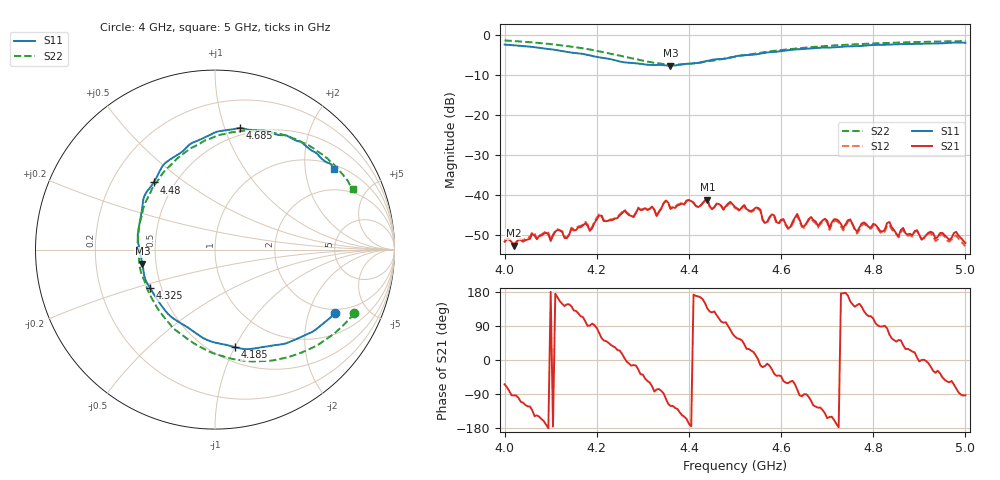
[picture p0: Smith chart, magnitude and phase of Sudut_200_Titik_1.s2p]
# Hz S RI R 50
! CMT, C1220, 16058040, 17.2.0/1
! Date: 15/08/2018 11:34:25
! Data: Format (Calibration Info)
! Freq  S11: Re/Im (F2)  S21: Re/Im (F2)  S12: Re/Im (F2)  S22: Re/Im (F2)
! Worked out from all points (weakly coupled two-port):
!   201 points, 4 GHz to 5 GHz, reference 50 ohm
!   highest |S21| = -41.07 dB at 4.44 GHz (marker M1); lowest = -52.5 dB at 4.02 GHz (marker M2)
!   lowest |S11| = -7.7 dB at 4.36 GHz (marker M3), VSWR 2.40, Z = 21 - j3.98 ohm
!   |S11| at or under -10 dB: nowhere
!   |S22| runs from -7.4 to -1.4 dB; largest |S21 - S12| = 0.00039
!   S11 on the Smith chart (normalised r, x): 4 GHz: 1.81, -3.01; 4.185 GHz: 0.64, -1.00; 4.325 GHz: 0.43, -0.23; 4.48 GHz: 0.38, +0.39; 4.685 GHz: 0.44, +1.13; 5 GHz: 1.16, +2.84
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4e9  0.668 -0.3553  0.00116 -0.00237  0.00131 -0.0024  0.7749 -0.3537
4.02e9  0.6327 -0.3874  -0.000134 -0.00236  3.93e-05 -0.00245  0.7381 -0.3974
4.17e9  0.1646 -0.5545  -0.00165 0.00387  -0.00177 0.00394  0.274 -0.6207
4.185e9  0.1109 -0.5438  -6.22e-05 0.0036  -0.000117 0.00372  0.2097 -0.6231
4.205e9  0.0287 -0.5245  0.00174 0.00533  0.00172 0.00554  0.1203 -0.6135
4.325e9  -0.3611 -0.2149  0.000762 -0.00655  0.000672 -0.00656  -0.3419 -0.2892
4.335e9  -0.3819 -0.1806  0.00143 -0.00605  0.00138 -0.00611  -0.3659 -0.2458
4.35e9  -0.3983 -0.1215  -0.00178 -0.00837  -0.00175 -0.00841  -0.394 -0.173
4.36e9  -0.4045 -0.0788  -0.00349 -0.00578  -0.00348 -0.00591  -0.4122 -0.1269
4.44e9  -0.4031 0.2501  -0.00636 0.00614  -0.00621 0.00617  -0.3888 0.2611
4.48e9  -0.342 0.3743  -0.00124 0.00721  -0.001 0.00706  -0.3016 0.4108
4.5e9  -0.3039 0.4447  0.00337 0.00629  0.0033 0.00613  -0.2459 0.472
4.615e9  -0.0198 0.643  0.00188 -0.00344  0.00175 -0.00339  0.0955 0.6538
4.635e9  0.0215 0.6592  0.00124 -0.00572  0.00112 -0.00548  0.1529 0.6613
4.645e9  0.0455 0.6632  -0.000403 -0.00415  -0.000343 -0.00404  0.1826 0.6633
4.67e9  0.1112 0.6722  -0.00246 -0.00427  -0.00245 -0.00401  0.2477 0.6625
4.685e9  0.1406 0.6776  -0.00263 -0.0037  -0.00248 -0.00355  0.2838 0.6594
4.82e9  0.4178 0.6249  9.22e-05 0.00352  0.000182 0.00333  0.5593 0.5567
4.835e9  0.4453 0.6104  0.0018 0.00429  0.00153 0.004  0.5823 0.5405
4.855e9  0.4772 0.5996  0.00188 0.00246  0.0018 0.00238  0.6122 0.5178
4.98e9  0.6467 0.4745  0.000906 -0.00338  0.000831 -0.00305  0.7497 0.3638
5e9  0.6615 0.4467  -0.000135 -0.00253  -1.46e-05 -0.00232  0.7679 0.3371
